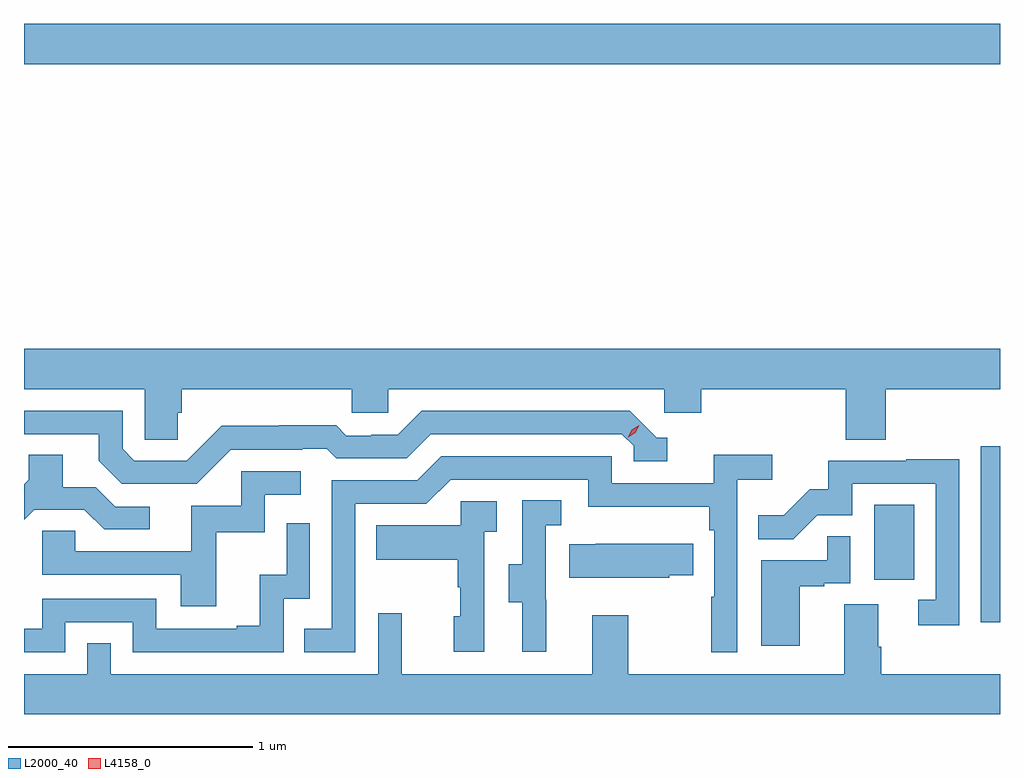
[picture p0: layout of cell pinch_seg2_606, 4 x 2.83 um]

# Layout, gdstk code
import gdstk
lib = gdstk.Library(unit=1e-6, precision=1e-09)
def R(c, l, rs):  # rectangles x0, y0, x1, y1
    for r in rs: c.add(gdstk.rectangle(r[:2], r[2:], *l))
def P(c, l, *ps):  # polygons
    for p in ps: c.add(gdstk.Polygon(p, *l))
L2000_40 = (2000, 40)
L4158_0 = (4158, 0)

pinch_seg2_606 = lib.new_cell('pinch_seg2_606')
R(pinch_seg2_606, L2000_40, [(1074.224,606.72,1074.302,607.441), (1073.786,606.894,1073.95,607.201), (1070.302,609.008,1074.302,609.172)])
P(pinch_seg2_606, L2000_40, [(1070.933,607.578),(1070.948,607.578),(1070.948,607.676),(1071.645,607.676),(1071.645,607.578),(1071.795,607.578),(1071.795,607.676),(1072.926,607.676),(1072.926,607.578),(1073.078,607.578),(1073.078,607.676),(1073.669,607.676),(1073.669,607.468),(1073.834,607.468),(1073.834,607.676),(1074.302,607.676),(1074.302,607.84),(1070.302,607.84),(1070.302,607.676),(1070.796,607.676),(1070.796,607.468),(1070.933,607.468)],
  [(1071.15,607.428),(1071.443,607.428),(1071.443,607.431),(1071.542,607.431),(1071.581,607.392),(1071.87,607.392),(1071.969,607.491),(1072.752,607.491),(1072.8,607.443),(1072.8,607.38),(1072.939,607.38),(1072.939,607.476),(1072.896,607.476),(1072.785,607.587),(1071.932,607.587),(1071.833,607.488),(1071.726,607.488),(1071.726,607.485),(1071.623,607.485),(1071.581,607.528),(1071.348,607.528),(1071.348,607.525),(1071.112,607.525),(1070.97,607.383),(1070.754,607.383),(1070.706,607.431),(1070.706,607.587),(1070.302,607.587),(1070.302,607.491),(1070.609,607.491),(1070.609,607.381),(1070.703,607.287),(1071.009,607.287)],
  [(1070.818,607.194),(1070.676,607.194),(1070.596,607.274),(1070.461,607.274),(1070.461,607.406),(1070.321,607.406),(1070.321,607.304),(1070.302,607.285),(1070.302,607.141),(1070.343,607.182),(1070.549,607.182),(1070.63,607.101),(1070.818,607.101)],
  [(1071.66,607.206),(1071.951,607.206),(1072.05,607.305),(1072.614,607.305),(1072.614,607.193),(1073.11,607.193),(1073.11,607.097),(1073.13,607.097),(1073.13,606.824),(1073.118,606.824),(1073.118,606.597),(1073.226,606.597),(1073.226,607.304),(1073.368,607.304),(1073.368,607.406),(1073.129,607.406),(1073.129,607.29),(1072.71,607.29),(1072.71,607.401),(1072.013,607.401),(1071.914,607.302),(1071.564,607.302),(1071.564,606.693),(1071.451,606.693),(1071.451,606.597),(1071.66,606.597)],
  [(1074.135,607.388),(1073.917,607.388),(1073.917,607.383),(1073.599,607.383),(1073.599,607.266),(1073.522,607.266),(1073.415,607.159),(1073.311,607.159),(1073.311,607.06),(1073.455,607.06),(1073.553,607.158),(1073.697,607.158),(1073.697,607.287),(1074.039,607.287),(1074.039,606.813),(1073.967,606.813),(1073.967,606.708),(1074.135,606.708)],
  [(1071.089,607.089),(1071.288,607.089),(1071.288,607.242),(1071.436,607.242),(1071.436,607.338),(1071.192,607.338),(1071.192,607.197),(1070.987,607.197),(1070.987,607.011),(1070.513,607.011),(1070.513,607.095),(1070.376,607.095),(1070.376,606.915),(1070.945,606.915),(1070.945,606.786),(1071.089,606.786)],
  [(1072.442,606.813),(1072.44,606.813),(1072.44,607.117),(1072.504,607.117),(1072.504,607.22),(1072.344,607.22),(1072.344,606.957),(1072.289,606.957),(1072.289,606.802),(1072.343,606.802),(1072.343,606.6),(1072.442,606.6)],
  [(1072.188,607.091),(1072.24,607.091),(1072.24,607.215),(1072.092,607.215),(1072.092,607.117),(1071.745,607.117),(1071.745,606.977),(1072.08,606.977),(1072.08,606.863),(1072.09,606.863),(1072.09,606.744),(1072.064,606.744),(1072.064,606.6),(1072.188,606.6)],
  [(1070.472,606.72),(1070.748,606.72),(1070.748,606.597),(1071.366,606.597),(1071.366,606.816),(1071.474,606.816),(1071.474,607.126),(1071.378,607.126),(1071.378,606.914),(1071.269,606.914),(1071.269,606.706),(1071.173,606.706),(1071.173,606.693),(1070.844,606.693),(1070.844,606.816),(1070.376,606.816),(1070.376,606.693),(1070.302,606.693),(1070.302,606.597),(1070.472,606.597)],
  [(1073.482,606.867),(1073.582,606.867),(1073.582,606.879),(1073.688,606.879),(1073.688,607.073),(1073.593,607.073),(1073.593,606.975),(1073.324,606.975),(1073.324,606.624),(1073.482,606.624)],
  [(1072.947,606.913),(1073.045,606.913),(1073.045,607.042),(1072.645,607.042),(1072.645,607.039),(1072.537,607.039),(1072.537,606.902),(1072.947,606.902)],
  [(1074.302,606.508),(1073.816,606.508),(1073.816,606.62),(1073.803,606.62),(1073.803,606.794),(1073.663,606.794),(1073.663,606.508),(1072.779,606.508),(1072.779,606.748),(1072.631,606.748),(1072.631,606.508),(1071.851,606.508),(1071.851,606.757),(1071.753,606.757),(1071.753,606.508),(1070.658,606.508),(1070.658,606.635),(1070.562,606.635),(1070.562,606.508),(1070.302,606.508),(1070.302,606.344),(1074.302,606.344)])
P(pinch_seg2_606, L4158_0, [(1072.776,607.477),(1072.776,607.477),(1072.793,607.509),(1072.824,607.528),(1072.824,607.528),(1072.824,607.528),(1072.807,607.496),(1072.776,607.477)])

lib.write_gds('pinch_seg2_606.gds')
